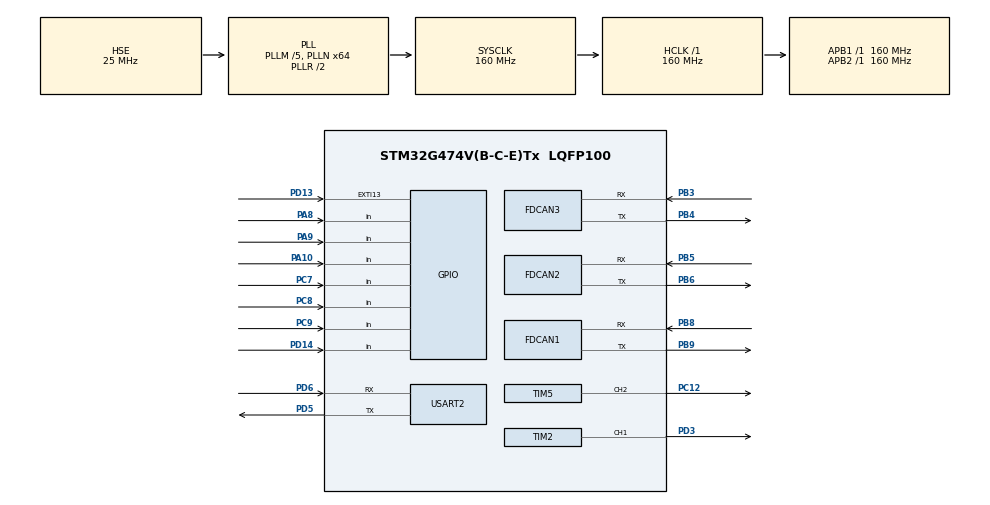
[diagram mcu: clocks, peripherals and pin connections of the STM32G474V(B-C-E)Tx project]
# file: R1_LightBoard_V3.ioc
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Dma.Request0=TIM2_CH1
Dma.Request1=TIM5_CH2
Dma.TIM2_CH1.0.Direction=DMA_MEMORY_TO_PERIPH
Dma.TIM2_CH1.0.EventEnable=DISABLE
Dma.TIM2_CH1.0.Instance=DMA1_Channel1
Dma.TIM2_CH1.0.MemDataAlignment=DMA_MDATAALIGN_WORD
Dma.TIM2_CH1.0.MemInc=DMA_MINC_ENABLE
Dma.TIM2_CH1.0.Mode=DMA_NORMAL
Dma.TIM2_CH1.0.PeriphDataAlignment=DMA_PDATAALIGN_WORD
Dma.TIM2_CH1.0.PeriphInc=DMA_PINC_DISABLE
Dma.TIM2_CH1.0.Polarity=HAL_DMAMUX_REQ_GEN_RISING
Dma.TIM2_CH1.0.Priority=DMA_PRIORITY_HIGH
Dma.TIM2_CH1.0.RequestNumber=1
Dma.TIM2_CH1.0.SignalID=NONE
Dma.TIM2_CH1.0.SyncEnable=DISABLE
Dma.TIM2_CH1.0.SyncPolarity=HAL_DMAMUX_SYNC_NO_EVENT
Dma.TIM2_CH1.0.SyncRequestNumber=1
Dma.TIM2_CH1.0.SyncSignalID=NONE
Dma.TIM5_CH2.1.Direction=DMA_MEMORY_TO_PERIPH
Dma.TIM5_CH2.1.EventEnable=DISABLE
Dma.TIM5_CH2.1.Instance=DMA1_Channel2
Dma.TIM5_CH2.1.MemDataAlignment=DMA_MDATAALIGN_WORD
Dma.TIM5_CH2.1.MemInc=DMA_MINC_ENABLE
Dma.TIM5_CH2.1.Mode=DMA_NORMAL
Dma.TIM5_CH2.1.PeriphDataAlignment=DMA_PDATAALIGN_WORD
Dma.TIM5_CH2.1.PeriphInc=DMA_PINC_DISABLE
Dma.TIM5_CH2.1.Polarity=HAL_DMAMUX_REQ_GEN_RISING
Dma.TIM5_CH2.1.Priority=DMA_PRIORITY_HIGH
Dma.TIM5_CH2.1.RequestNumber=1
Dma.TIM5_CH2.1.SignalID=NONE
Dma.TIM5_CH2.1.SyncEnable=DISABLE
Dma.TIM5_CH2.1.SyncPolarity=HAL_DMAMUX_SYNC_NO_EVENT
Dma.TIM5_CH2.1.SyncRequestNumber=1
Dma.TIM5_CH2.1.SyncSignalID=NONE
FDCAN1.CalculateBaudRateNominal=1000000
FDCAN1.CalculateTimeBitNominal=1000
FDCAN1.CalculateTimeQuantumNominal=25.0
FDCAN1.DataPrescaler=2
FDCAN1.DataSyncJumpWidth=5
FDCAN1.DataTimeSeg1=31
FDCAN1.DataTimeSeg2=8
FDCAN1.ExtFiltersNbr=1
FDCAN1.FrameFormat=FDCAN_FRAME_FD_BRS
FDCAN1.NominalPrescaler=4
FDCAN1.NominalSyncJumpWidth=5
FDCAN1.NominalTimeSeg1=31
FDCAN1.NominalTimeSeg2=8
FDCAN1.StdFiltersNbr=2
FDCAN2.CalculateBaudRateNominal=1000000
FDCAN2.CalculateTimeBitNominal=1000
FDCAN2.CalculateTimeQuantumNominal=25.0
FDCAN2.DataPrescaler=2
FDCAN2.DataSyncJumpWidth=5
FDCAN2.DataTimeSeg1=31
FDCAN2.DataTimeSeg2=8
FDCAN2.ExtFiltersNbr=1
FDCAN2.FrameFormat=FDCAN_FRAME_FD_BRS
FDCAN2.NominalPrescaler=4
FDCAN2.NominalSyncJumpWidth=5
FDCAN2.NominalTimeSeg1=31
FDCAN2.NominalTimeSeg2=8
FDCAN2.StdFiltersNbr=2
FDCAN3.CalculateBaudRateNominal=1000000
FDCAN3.CalculateTimeBitNominal=1000
FDCAN3.CalculateTimeQuantumNominal=25.0
FDCAN3.DataPrescaler=2
FDCAN3.DataSyncJumpWidth=5
FDCAN3.DataTimeSeg1=31
FDCAN3.DataTimeSeg2=8
FDCAN3.ExtFiltersNbr=1
FDCAN3.FrameFormat=FDCAN_FRAME_FD_BRS
FDCAN3.NominalPrescaler=4
FDCAN3.NominalSyncJumpWidth=5
FDCAN3.NominalTimeSeg1=31
FDCAN3.NominalTimeSeg2=8
FDCAN3.StdFiltersNbr=2
Mcu.Family=STM32G4
Mcu.Name=STM32G474V(B-C-E)Tx
Mcu.Package=LQFP100
NVIC.DMA1_Channel1_IRQn=true\:0\:0\:false\:false\:true\:false\:true\:true
NVIC.DMA1_Channel2_IRQn=true\:0\:0\:false\:false\:true\:false\:true\:true
NVIC.EXTI15_10_IRQn=true\:0\:0\:false\:false\:true\:true\:true\:true
NVIC.FDCAN1_IT0_IRQn=true\:0\:0\:false\:false\:true\:true\:true\:true
NVIC.FDCAN1_IT1_IRQn=true\:0\:0\:false\:false\:true\:true\:true\:true
NVIC.FDCAN2_IT0_IRQn=true\:0\:0\:false\:false\:true\:true\:true\:true
NVIC.FDCAN2_IT1_IRQn=true\:0\:0\:false\:false\:true\:true\:true\:true
NVIC.FDCAN3_IT0_IRQn=true\:0\:0\:false\:false\:true\:true\:true\:true
NVIC.FDCAN3_IT1_IRQn=true\:0\:0\:false\:false\:true\:true\:true\:true
NVIC.PriorityGroup=NVIC_PRIORITYGROUP_4
NVIC.TIM6_DAC_IRQn=true\:0\:0\:false\:false\:true\:true\:true\:true
NVIC.TIM7_DAC_IRQn=true\:0\:0\:false\:false\:true\:true\:true\:true
PA10.GPIO_PuPd=GPIO_PULLUP
PA10.Signal=GPIO_Input
PA13.Mode=Serial_Wire
PA13.Signal=SYS_JTMS-SWDIO
PA14.Mode=Serial_Wire
PA14.Signal=SYS_JTCK-SWCLK
PA8.GPIO_PuPd=GPIO_PULLUP
PA8.Signal=GPIO_Input
PA9.GPIO_PuPd=GPIO_PULLUP
PA9.Signal=GPIO_Input
PB3.GPIO_PuPd=GPIO_PULLUP
PB3.GPIO_Speed=GPIO_SPEED_FREQ_VERY_HIGH
PB3.Mode=FDCAN_Activate
PB3.Signal=FDCAN3_RX
PB4.GPIO_Speed=GPIO_SPEED_FREQ_VERY_HIGH
PB4.Mode=FDCAN_Activate
PB4.Signal=FDCAN3_TX
PB5.GPIO_PuPd=GPIO_PULLUP
PB5.GPIO_Speed=GPIO_SPEED_FREQ_VERY_HIGH
PB5.Mode=FDCAN_Activate
PB5.Signal=FDCAN2_RX
PB6.GPIO_Speed=GPIO_SPEED_FREQ_VERY_HIGH
PB6.Mode=FDCAN_Activate
PB6.Signal=FDCAN2_TX
PB8-BOOT0.GPIO_PuPd=GPIO_PULLUP
PB8-BOOT0.GPIO_Speed=GPIO_SPEED_FREQ_VERY_HIGH
PB8-BOOT0.Mode=FDCAN_Activate
PB8-BOOT0.Signal=FDCAN1_RX
PB9.GPIO_Speed=GPIO_SPEED_FREQ_VERY_HIGH
PB9.Mode=FDCAN_Activate
PB9.Signal=FDCAN1_TX
PC12.GPIO_Speed=GPIO_SPEED_FREQ_VERY_HIGH
PC12.Signal=S_TIM5_CH2
PC7.GPIO_PuPd=GPIO_PULLUP
PC7.Signal=GPIO_Input
PC8.GPIO_PuPd=GPIO_PULLUP
PC8.Signal=GPIO_Input
PC9.GPIO_PuPd=GPIO_PULLUP
PC9.Signal=GPIO_Input
PD13.GPIO_ModeDefaultEXTI=GPIO_MODE_IT_RISING_FALLING
PD13.GPIO_PuPd=GPIO_PULLUP
PD13.Signal=GPXTI13
PD14.GPIO_PuPd=GPIO_PULLUP
PD14.Signal=GPIO_Input
PD3.GPIO_Speed=GPIO_SPEED_FREQ_VERY_HIGH
PD3.Signal=S_TIM2_CH1
PD5.Mode=Asynchronous
PD5.Signal=USART2_TX
PD6.Mode=Asynchronous
PD6.Signal=USART2_RX
PF0-OSC_IN.Mode=HSE-External-Oscillator
PF0-OSC_IN.Signal=RCC_OSC_IN
PF1-OSC_OUT.Mode=HSE-External-Oscillator
PF1-OSC_OUT.Signal=RCC_OSC_OUT
ProjectManager.HeapSize=0x200
ProjectManager.StackSize=0x400
ProjectManager.TargetToolchain=MDK-ARM V5.32
RCC.ADC12Freq_Value=160000000
RCC.ADC345Freq_Value=160000000
RCC.AHBFreq_Value=160000000
RCC.APB1Freq_Value=160000000
RCC.APB1TimFreq_Value=160000000
RCC.APB2Freq_Value=160000000
RCC.APB2TimFreq_Value=160000000
RCC.CortexFreq_Value=160000000
RCC.EXTERNAL_CLOCK_VALUE=12288000
RCC.HCLKFreq_Value=160000000
RCC.HSE_VALUE=25000000
RCC.HSI48_VALUE=48000000
RCC.HSI_VALUE=16000000
RCC.LSE_VALUE=32768
RCC.PLLM=RCC_PLLM_DIV5
RCC.PLLN=64
RCC.PLLSourceVirtual=RCC_PLLSOURCE_HSE
RCC.SYSCLKFreq_VALUE=160000000
RCC.SYSCLKSource=RCC_SYSCLKSOURCE_PLLCLK
RCC.USBFreq_Value=160000000
RCC.VCOOutputFreq_Value=320000000
SH.S_TIM2_CH1.0=TIM2_CH1,PWM Generation1 CH1
SH.S_TIM5_CH2.0=TIM5_CH2,PWM Generation2 CH2
TIM2.Channel-PWM\ Generation1\ CH1=TIM_CHANNEL_1
TIM2.PeriodNoDither=199
TIM5.Channel-PWM\ Generation2\ CH2=TIM_CHANNEL_2
TIM5.PeriodNoDither=199
TIM6.PeriodNoDither=19999
TIM6.Prescaler=159
TIM7.PeriodNoDither=999
TIM7.Prescaler=159
USART2.VirtualMode-Asynchronous=VM_ASYNC
VP_SYS_VS_DBSignals.Mode=DisableDeadBatterySignals
VP_TIM2_VS_ClockSourceINT.Mode=Internal
VP_TIM5_VS_ClockSourceINT.Mode=Internal
VP_TIM6_VS_ClockSourceINT.Mode=Enable_Timer
VP_TIM7_VS_ClockSourceINT.Mode=Enable_Timer
board=custom

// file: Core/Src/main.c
/* USER CODE BEGIN Header */
/**
  ******************************************************************************
  * @file           : main.c
  * @brief          : Main program body
  ******************************************************************************
  * @attention
  *
  * Copyright (c) 2025 STMicroelectronics.
  * All rights reserved.
  *
  * This software is licensed under terms that can be found in the LICENSE file
  * in the root directory of this software component.
  * If no LICENSE file comes with this software, it is provided AS-IS.
  *
  ******************************************************************************
  */
/* USER CODE END Header */
#include "main.h"
#include "dma.h"
#include "fdcan.h"
#include "tim.h"
#include "usart.h"
#include "gpio.h"

/* USER CODE BEGIN Includes */
#include "Key_bsp.h"
/* USER CODE END Includes */

void SystemClock_Config(void);
/* USER CODE BEGIN PFP */
void Peripherals_Init(void);
/* USER CODE END PFP */

/* USER CODE BEGIN 0 */
uint64_t USER_sysTick = 0;
/* USER CODE END 0 */

int main(void)
{

  /* MCU Configuration--------------------------------------------------------*/

  /* Reset of all peripherals, Initializes the Flash interface and the Systick. */
  HAL_Init();

  /* Configure the system clock */
  SystemClock_Config();

  /* Initialize all configured peripherals */
  MX_GPIO_Init();
  MX_DMA_Init();
  MX_FDCAN1_Init();
  MX_FDCAN2_Init();
  MX_FDCAN3_Init();
  MX_TIM2_Init();
  MX_TIM5_Init();
  MX_USART2_UART_Init();
  MX_TIM6_Init();
  MX_TIM7_Init();
  /* USER CODE BEGIN 2 */
  Peripherals_Init();
  /* USER CODE END 2 */

  /* Infinite loop */
  /* USER CODE BEGIN WHILE */
  while (1)
  {
		if (SYSTEM_INTERRUPT_FLAG == 1)
			continue;
		Button_Function_Execute();
    HAL_Delay(1);
    /* USER CODE END WHILE */

  }
}

void SystemClock_Config(void)
{
  RCC_OscInitTypeDef RCC_OscInitStruct = {0};
  RCC_ClkInitTypeDef RCC_ClkInitStruct = {0};

  /** Configure the main internal regulator output voltage
  */
  HAL_PWREx_ControlVoltageScaling(PWR_REGULATOR_VOLTAGE_SCALE1_BOOST);

  /** Initializes the RCC Oscillators according to the specified parameters
  * in the RCC_OscInitTypeDef structure.
  */
  RCC_OscInitStruct.OscillatorType = RCC_OSCILLATORTYPE_HSE;
  RCC_OscInitStruct.HSEState = RCC_HSE_ON;
  RCC_OscInitStruct.PLL.PLLState = RCC_PLL_ON;
  RCC_OscInitStruct.PLL.PLLSource = RCC_PLLSOURCE_HSE;
  RCC_OscInitStruct.PLL.PLLM = RCC_PLLM_DIV5;
  RCC_OscInitStruct.PLL.PLLN = 64;
  RCC_OscInitStruct.PLL.PLLP = RCC_PLLP_DIV2;
  RCC_OscInitStruct.PLL.PLLQ = RCC_PLLQ_DIV2;
  RCC_OscInitStruct.PLL.PLLR = RCC_PLLR_DIV2;
  if (HAL_RCC_OscConfig(&RCC_OscInitStruct) != HAL_OK)
  {
    Error_Handler();
  }

  /** Initializes the CPU, AHB and APB buses clocks
  */
  RCC_ClkInitStruct.ClockType = RCC_CLOCKTYPE_HCLK|RCC_CLOCKTYPE_SYSCLK
                              |RCC_CLOCKTYPE_PCLK1|RCC_CLOCKTYPE_PCLK2;
  RCC_ClkInitStruct.SYSCLKSource = RCC_SYSCLKSOURCE_PLLCLK;
  RCC_ClkInitStruct.AHBCLKDivider = RCC_SYSCLK_DIV1;
  RCC_ClkInitStruct.APB1CLKDivider = RCC_HCLK_DIV1;
  RCC_ClkInitStruct.APB2CLKDivider = RCC_HCLK_DIV1;

  if (HAL_RCC_ClockConfig(&RCC_ClkInitStruct, FLASH_LATENCY_4) != HAL_OK)
  {
    Error_Handler();
  }
}

/* USER CODE BEGIN 4 */
void HAL_TIM_PeriodElapsedCallback(TIM_HandleTypeDef *htim)
{
  if (htim->Instance == TIM7)
  {
		Refresh_Button_State();
  }
  else if (htim->Instance == TIM6)
  {
		if (SYSTEM_INTERRUPT_FLAG == 1)
			return;
    Check_HeartBeat_Timeout();
    WS2812_Display_Now_Event();
    WS2812_DisPlay_HeartBeat_Error();
    WS2812_NewRound_Send(&htim2, TIM_CHANNEL_1);
  }
}
void HAL_FDCAN_RxFifo0Callback(FDCAN_HandleTypeDef *hfdcan, uint32_t RxFifo0ITs)
{
	if (hfdcan == &hfdcan1)
	{
		HAL_FDCAN_GetRxMessage(&hfdcan1, FDCAN_RX_FIFO0, &CAN1_RxMessage, CAN1_RxData);
    Refresh_HeartBeat_Time(&hfdcan1);
	}
  else if (hfdcan == &hfdcan2)
  {
    HAL_FDCAN_GetRxMessage(&hfdcan2, FDCAN_RX_FIFO0, &CAN2_RxMessage, CAN2_RxData);
    Refresh_HeartBeat_Time(&hfdcan2);
  }
}
void HAL_FDCAN_RxFifo1Callback(FDCAN_HandleTypeDef *hfdcan, uint32_t RxFifo1ITs)
{
  if (hfdcan == &hfdcan3)
	{
		HAL_FDCAN_GetRxMessage(&hfdcan3, FDCAN_RX_FIFO1, &CAN3_RxMessage, CAN3_RxData);
    Refresh_HeartBeat_Time(&hfdcan3);
	}
}
void HAL_GPIO_EXTI_Callback(uint16_t GPIO_Pin)
{
    if (GPIO_Pin == GPIO_PIN_13)
    {
        uint32_t current_time = HAL_GetTick();
        if (current_time - last_interrupt_time > DEBOUNCE_DELAY)
        {
            last_interrupt_time = current_time;
            if (HAL_GPIO_ReadPin(GPIOD, GPIO_PIN_13) == GPIO_PIN_RESET)
            {
                FORCE_INTERRUPT();
                SYSTEM_INTERRUPT_FLAG = 1;
            }
            else if (HAL_GPIO_ReadPin(GPIOD, GPIO_PIN_13) == GPIO_PIN_SET)
            {
                INTERRUPT_RESET();
                SYSTEM_INTERRUPT_FLAG = 0;
            }
        }
    }
}
void Peripherals_Init(void)
{
  //	FDCAN1_Init(&hfdcan1);
  Button_Init();
	FDCAN2_Init(&hfdcan2);
	FDCAN3_Init(&hfdcan3);
	__HAL_TIM_DISABLE_IT(&htim2, TIM_IT_UPDATE);
	__HAL_TIM_DISABLE_IT(&htim2, TIM_IT_CC1);
  __HAL_TIM_DISABLE_IT(&htim5, TIM_IT_UPDATE);
	__HAL_TIM_DISABLE_IT(&htim5, TIM_IT_CC1);
	HAL_TIM_Base_Start_IT(&htim6);
	HAL_TIM_Base_Start_IT(&htim7);
}
/* USER CODE END 4 */

void Error_Handler(void)
{
  __disable_irq();
  while (1)
  {
  }
}
